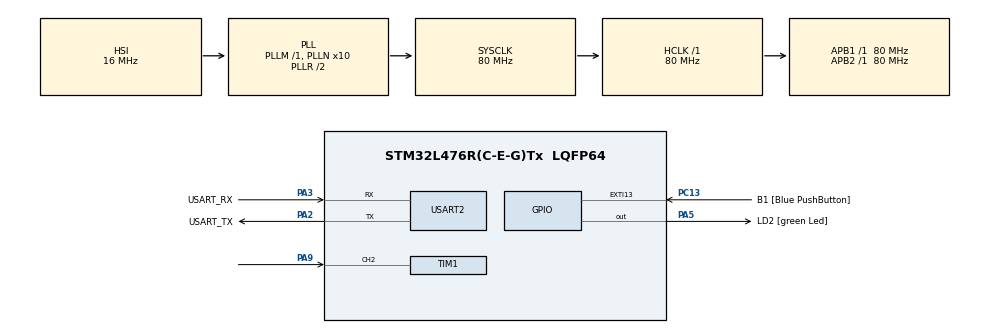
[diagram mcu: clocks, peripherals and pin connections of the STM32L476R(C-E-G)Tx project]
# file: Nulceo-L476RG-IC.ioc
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Mcu.Family=STM32L4
Mcu.Name=STM32L476R(C-E-G)Tx
Mcu.Package=LQFP64
NVIC.PriorityGroup=NVIC_PRIORITYGROUP_4
NVIC.TIM1_CC_IRQn=true\:0\:0\:false\:false\:true\:true\:true
PA13\ (JTMS-SWDIO).GPIO_Label=TMS
PA13\ (JTMS-SWDIO).Mode=Serial_Wire
PA13\ (JTMS-SWDIO).Signal=SYS_JTMS-SWDIO
PA14\ (JTCK-SWCLK).GPIO_Label=TCK
PA14\ (JTCK-SWCLK).Mode=Serial_Wire
PA14\ (JTCK-SWCLK).Signal=SYS_JTCK-SWCLK
PA2.GPIO_Label=USART_TX
PA2.GPIO_Mode=GPIO_MODE_AF_PP
PA2.GPIO_PuPd=GPIO_NOPULL
PA2.GPIO_Speed=GPIO_SPEED_FREQ_VERY_HIGH
PA2.Mode=Asynchronous
PA2.Signal=USART2_TX
PA3.GPIO_Label=USART_RX
PA3.GPIO_Mode=GPIO_MODE_AF_PP
PA3.GPIO_PuPd=GPIO_NOPULL
PA3.GPIO_Speed=GPIO_SPEED_FREQ_VERY_HIGH
PA3.Mode=Asynchronous
PA3.Signal=USART2_RX
PA5.GPIO_Label=LD2 [green Led]
PA5.GPIO_ModeDefaultOutputPP=GPIO_MODE_OUTPUT_PP
PA5.GPIO_PuPd=GPIO_NOPULL
PA5.GPIO_Speed=GPIO_SPEED_FREQ_LOW
PA5.Signal=GPIO_Output
PA9.Signal=S_TIM1_CH2
PB3\ (JTDO-TRACESWO).GPIO_Label=SWO
PB3\ (JTDO-TRACESWO).Signal=SYS_JTDO-SWO
PC13.GPIO_Label=B1 [Blue PushButton]
PC13.GPIO_ModeDefaultEXTI=GPIO_MODE_IT_FALLING
PC13.GPIO_PuPd=GPIO_NOPULL
PC13.Signal=GPXTI13
PC14-OSC32_IN\ (PC14).Mode=LSE-External-Oscillator
PC14-OSC32_IN\ (PC14).Signal=RCC_OSC32_IN
PC15-OSC32_OUT\ (PC15).Mode=LSE-External-Oscillator
PC15-OSC32_OUT\ (PC15).Signal=RCC_OSC32_OUT
PH0-OSC_IN\ (PH0).Signal=RCC_OSC_IN
PH1-OSC_OUT\ (PH1).Signal=RCC_OSC_OUT
ProjectManager.HeapSize=0x200
ProjectManager.StackSize=0x400
ProjectManager.TargetToolchain=STM32CubeIDE
RCC.ADCFreq_Value=64000000
RCC.AHBFreq_Value=80000000
RCC.APB1Freq_Value=80000000
RCC.APB1TimFreq_Value=80000000
RCC.APB2Freq_Value=80000000
RCC.APB2TimFreq_Value=80000000
RCC.CortexFreq_Value=80000000
RCC.HCLKFreq_Value=80000000
RCC.HSE_VALUE=8000000
RCC.HSI_VALUE=16000000
RCC.MSI_VALUE=4000000
RCC.PLLN=10
RCC.PLLSourceVirtual=RCC_PLLSOURCE_HSI
RCC.PREFETCH_ENABLE=1
RCC.SYSCLKFreq_VALUE=80000000
RCC.SYSCLKSource=RCC_SYSCLKSOURCE_PLLCLK
RCC.USBFreq_Value=64000000
RCC.VCOOutputFreq_Value=160000000
SH.S_TIM1_CH2.0=TIM1_CH2,Input_Capture2_from_TI2
TIM1.Channel-Input_Capture2_from_TI2=TIM_CHANNEL_2
USART2.VirtualMode-Asynchronous=VM_ASYNC
board=NUCLEO-L476RG

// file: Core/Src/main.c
/* USER CODE BEGIN Header */
/**
  ******************************************************************************
  * @file           : main.c
  * @brief          : Main program body for Input Capture [Jan van Deventer, September 12, 2020]
  ******************************************************************************
  * @attention
  *
  * <h2><center>&copy; Copyright (c) 2020 STMicroelectronics.
  * All rights reserved.</center></h2>
  *
  * This software component is licensed by ST under BSD 3-Clause license,
  * the "License"; You may not use this file except in compliance with the
  * License. You may obtain a copy of the License at:
  *                        opensource.org/licenses/BSD-3-Clause
  *
  ******************************************************************************
  */
/* USER CODE END Header */
#include "main.h"

/* USER CODE BEGIN Includes */

#include <string.h>
#include <stdio.h>

/* USER CODE END Includes */

TIM_HandleTypeDef htim1;

UART_HandleTypeDef huart2;

/* USER CODE BEGIN PV */

/* Captured Values */
uint32_t               uwIC2Value1 = 0;
uint32_t               uwIC2Value2 = 0;
uint32_t               uwDiffCapture = 0;

/* Capture index */
uint16_t               uhCaptureIndex = 0;

/* Frequency Value */
uint32_t               uwFrequency = 0;

/* USER CODE END PV */

void SystemClock_Config(void);
static void MX_GPIO_Init(void);
static void MX_USART2_UART_Init(void);
static void MX_TIM1_Init(void);

int main(void)
{
  /* USER CODE BEGIN 1 */

	char uart_buf[50];
	int uart_buf_len;

  /* USER CODE END 1 */

  /* MCU Configuration--------------------------------------------------------*/

  /* Reset of all peripherals, Initializes the Flash interface and the Systick. */
  HAL_Init();

  /* Configure the system clock */
  SystemClock_Config();

  /* Initialize all configured peripherals */
  MX_GPIO_Init();
  MX_USART2_UART_Init();
  MX_TIM1_Init();
  /* USER CODE BEGIN 2 */

  // Say something
  uart_buf_len = sprintf(uart_buf, "Input Capture on D8\r\n");
  HAL_UART_Transmit(&huart2,(uint8_t*)uart_buf, uart_buf_len, 100);

  /* USER CODE END 2 */

  /* Infinite loop */
  /* USER CODE BEGIN WHILE */
  while (1)
  {
	  // Show Frequency
	  uart_buf_len = sprintf(uart_buf, "%lu Hz\r\n", uwFrequency);
	  HAL_UART_Transmit(&huart2, (uint8_t*)uart_buf, uart_buf_len, 100);

	  // Wait again so we do not flood the Serial terminal
	  HAL_Delay(1000);
    /* USER CODE END WHILE */

  }
}

void SystemClock_Config(void)
{
  RCC_OscInitTypeDef RCC_OscInitStruct = {0};
  RCC_ClkInitTypeDef RCC_ClkInitStruct = {0};
  RCC_PeriphCLKInitTypeDef PeriphClkInit = {0};

  /** Initializes the RCC Oscillators according to the specified parameters
  * in the RCC_OscInitTypeDef structure.
  */
  RCC_OscInitStruct.OscillatorType = RCC_OSCILLATORTYPE_HSI;
  RCC_OscInitStruct.HSIState = RCC_HSI_ON;
  RCC_OscInitStruct.HSICalibrationValue = RCC_HSICALIBRATION_DEFAULT;
  RCC_OscInitStruct.PLL.PLLState = RCC_PLL_ON;
  RCC_OscInitStruct.PLL.PLLSource = RCC_PLLSOURCE_HSI;
  RCC_OscInitStruct.PLL.PLLM = 1;
  RCC_OscInitStruct.PLL.PLLN = 10;
  RCC_OscInitStruct.PLL.PLLP = RCC_PLLP_DIV7;
  RCC_OscInitStruct.PLL.PLLQ = RCC_PLLQ_DIV2;
  RCC_OscInitStruct.PLL.PLLR = RCC_PLLR_DIV2;
  if (HAL_RCC_OscConfig(&RCC_OscInitStruct) != HAL_OK)
  {
    Error_Handler();
  }
  /** Initializes the CPU, AHB and APB buses clocks
  */
  RCC_ClkInitStruct.ClockType = RCC_CLOCKTYPE_HCLK|RCC_CLOCKTYPE_SYSCLK
                              |RCC_CLOCKTYPE_PCLK1|RCC_CLOCKTYPE_PCLK2;
  RCC_ClkInitStruct.SYSCLKSource = RCC_SYSCLKSOURCE_PLLCLK;
  RCC_ClkInitStruct.AHBCLKDivider = RCC_SYSCLK_DIV1;
  RCC_ClkInitStruct.APB1CLKDivider = RCC_HCLK_DIV1;
  RCC_ClkInitStruct.APB2CLKDivider = RCC_HCLK_DIV1;

  if (HAL_RCC_ClockConfig(&RCC_ClkInitStruct, FLASH_LATENCY_4) != HAL_OK)
  {
    Error_Handler();
  }
  PeriphClkInit.PeriphClockSelection = RCC_PERIPHCLK_USART2;
  PeriphClkInit.Usart2ClockSelection = RCC_USART2CLKSOURCE_PCLK1;
  if (HAL_RCCEx_PeriphCLKConfig(&PeriphClkInit) != HAL_OK)
  {
    Error_Handler();
  }
  /** Configure the main internal regulator output voltage
  */
  if (HAL_PWREx_ControlVoltageScaling(PWR_REGULATOR_VOLTAGE_SCALE1) != HAL_OK)
  {
    Error_Handler();
  }
}

static void MX_TIM1_Init(void)
{

  TIM_MasterConfigTypeDef sMasterConfig = {0};
  TIM_IC_InitTypeDef sConfigIC = {0};

  htim1.Instance = TIM1;
  htim1.Init.Prescaler = 0;
  htim1.Init.CounterMode = TIM_COUNTERMODE_UP;
  htim1.Init.Period = 65535;
  htim1.Init.ClockDivision = TIM_CLOCKDIVISION_DIV1;
  htim1.Init.RepetitionCounter = 0;
  htim1.Init.AutoReloadPreload = TIM_AUTORELOAD_PRELOAD_DISABLE;
  if (HAL_TIM_IC_Init(&htim1) != HAL_OK)
  {
    Error_Handler();
  }
  sMasterConfig.MasterOutputTrigger = TIM_TRGO_RESET;
  sMasterConfig.MasterOutputTrigger2 = TIM_TRGO2_RESET;
  sMasterConfig.MasterSlaveMode = TIM_MASTERSLAVEMODE_DISABLE;
  if (HAL_TIMEx_MasterConfigSynchronization(&htim1, &sMasterConfig) != HAL_OK)
  {
    Error_Handler();
  }
  sConfigIC.ICPolarity = TIM_INPUTCHANNELPOLARITY_RISING;
  sConfigIC.ICSelection = TIM_ICSELECTION_DIRECTTI;
  sConfigIC.ICPrescaler = TIM_ICPSC_DIV1;
  sConfigIC.ICFilter = 0;
  if (HAL_TIM_IC_ConfigChannel(&htim1, &sConfigIC, TIM_CHANNEL_2) != HAL_OK)
  {
    Error_Handler();
  }
  /* USER CODE BEGIN TIM1_Init 2 */

  /*##-3- Start the Input Capture in interrupt mode ##########################*/
   if(HAL_TIM_IC_Start_IT(&htim1, TIM_CHANNEL_2) != HAL_OK)
   {
     /* Starting Error */
     Error_Handler();
   }

  /* USER CODE END TIM1_Init 2 */

}

static void MX_USART2_UART_Init(void)
{

  huart2.Instance = USART2;
  huart2.Init.BaudRate = 115200;
  huart2.Init.WordLength = UART_WORDLENGTH_8B;
  huart2.Init.StopBits = UART_STOPBITS_1;
  huart2.Init.Parity = UART_PARITY_NONE;
  huart2.Init.Mode = UART_MODE_TX_RX;
  huart2.Init.HwFlowCtl = UART_HWCONTROL_NONE;
  huart2.Init.OverSampling = UART_OVERSAMPLING_16;
  huart2.Init.OneBitSampling = UART_ONE_BIT_SAMPLE_DISABLE;
  huart2.AdvancedInit.AdvFeatureInit = UART_ADVFEATURE_NO_INIT;
  if (HAL_UART_Init(&huart2) != HAL_OK)
  {
    Error_Handler();
  }

}

static void MX_GPIO_Init(void)
{
  GPIO_InitTypeDef GPIO_InitStruct = {0};

  /* GPIO Ports Clock Enable */
  __HAL_RCC_GPIOC_CLK_ENABLE();
  __HAL_RCC_GPIOH_CLK_ENABLE();
  __HAL_RCC_GPIOA_CLK_ENABLE();
  __HAL_RCC_GPIOB_CLK_ENABLE();

  /*Configure GPIO pin Output Level */
  HAL_GPIO_WritePin(LD2_GPIO_Port, LD2_Pin, GPIO_PIN_RESET);

  /*Configure GPIO pin : B1_Pin */
  GPIO_InitStruct.Pin = B1_Pin;
  GPIO_InitStruct.Mode = GPIO_MODE_IT_FALLING;
  GPIO_InitStruct.Pull = GPIO_NOPULL;
  HAL_GPIO_Init(B1_GPIO_Port, &GPIO_InitStruct);

  /*Configure GPIO pin : LD2_Pin */
  GPIO_InitStruct.Pin = LD2_Pin;
  GPIO_InitStruct.Mode = GPIO_MODE_OUTPUT_PP;
  GPIO_InitStruct.Pull = GPIO_NOPULL;
  GPIO_InitStruct.Speed = GPIO_SPEED_FREQ_LOW;
  HAL_GPIO_Init(LD2_GPIO_Port, &GPIO_InitStruct);

}

/* USER CODE BEGIN 4 */

/**
  * @brief  Conversion complete callback in non blocking mode
  * @param  htim : hadc handle
  * @retval None
  */
void HAL_TIM_IC_CaptureCallback(TIM_HandleTypeDef *htim)
{
  if (htim->Channel == HAL_TIM_ACTIVE_CHANNEL_2)
  {
    if(uhCaptureIndex == 0)
    {
      /* Get the 1st Input Capture value */
      uwIC2Value1 = HAL_TIM_ReadCapturedValue(htim, TIM_CHANNEL_2);
      uhCaptureIndex = 1;
    }
    else if(uhCaptureIndex == 1)
    {
      /* Get the 2nd Input Capture value */
      uwIC2Value2 = HAL_TIM_ReadCapturedValue(htim, TIM_CHANNEL_2);

      /* Capture computation */
      if (uwIC2Value2 > uwIC2Value1)
      {
        uwDiffCapture = (uwIC2Value2 - uwIC2Value1);
      }
      else if (uwIC2Value2 < uwIC2Value1)
      {
        /* 0xFFFF is max TIM1_CCRx value */
        uwDiffCapture = ((0xFFFF - uwIC2Value1) + uwIC2Value2) + 1;
      }
      else
      {
        /* If capture values are equal, we have reached the limit of frequency
           measures */
        Error_Handler();
      }
      /* Frequency computation: for this example TIMx (TIM1) is clocked by
         APB2Clk */
      uwFrequency = HAL_RCC_GetPCLK2Freq() / uwDiffCapture;
      uhCaptureIndex = 0;
    }
  }
}

/* USER CODE END 4 */

void Error_Handler(void)
{
}

/************************ (C) COPYRIGHT STMicroelectronics *****END OF FILE****/
